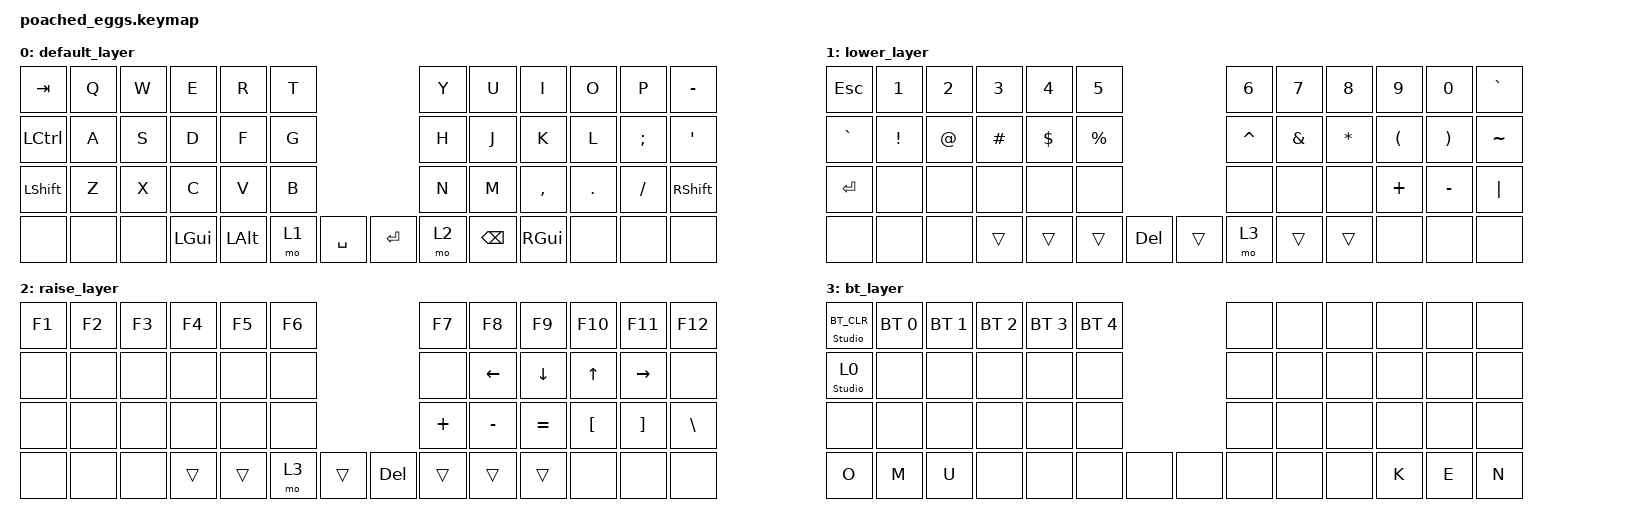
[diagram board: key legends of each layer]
#include <behaviors.dtsi>
#include <dt-bindings/zmk/keys.h>
#include <dt-bindings/zmk/bt.h>

/ {
    behaviors {
        // カスタムhold-tap: Studio unlock + 通常キー
        studio_ht: studio_hold_tap {
            compatible = "zmk,behavior-hold-tap";
            #binding-cells = <2>;
            flavor = "tap-preferred";
            tapping-term-ms = <200>;
            quick-tap-ms = <175>;
            require-prior-idle-ms = <150>;
            bindings = <&studio_unlock>, <&kp>;
        };
        
        // Layer-tap + studio unlock の組み合わせ例
        studio_lt: studio_layer_tap {
            compatible = "zmk,behavior-hold-tap";
            #binding-cells = <2>;
            flavor = "balanced";
            tapping-term-ms = <300>;
            quick-tap-ms = <200>;
            bindings = <&studio_unlock>, <&mo>;
        };
    };

    keymap {
        compatible = "zmk,keymap";

        default_layer {
            bindings = <
                &kp TAB     &kp Q       &kp W       &kp E       &kp R       &kp T                                &kp Y       &kp U        &kp I       &kp O       &kp P        &kp MINUS
                &kp LCTRL   &kp A       &kp S       &kp D       &kp F       &kp G                                &kp H       &kp J        &kp K       &kp L       &kp SEMI     &kp SQT
                &kp LSHFT   &kp Z       &kp X       &kp C       &kp V       &kp B                                &kp N       &kp M        &kp COMMA   &kp DOT     &kp FSLH     &kp RSHFT
                &none       &none       &none       &kp LGUI    &kp LALT    &mo 1       &kp SPACE    &kp RET     &mo 2       &kp BSPC     &kp RGUI    &none       &none        &none
            >;
        };

        lower_layer {
            bindings = <
                &kp ESC     &kp N1      &kp N2      &kp N3      &kp N4      &kp N5                              &kp N6      &kp N7      &kp N8      &kp N9      &kp N0      &kp GRAVE
                &kp GRAVE   &kp EXCL    &kp AT      &kp HASH    &kp DOLLAR  &kp PRCNT                           &kp CARET   &kp AMPS    &kp ASTRK   &kp LPAR    &kp RPAR    &kp TILDE
                &kp RET     &none       &none       &none       &none       &none                               &none       &none       &none       &kp PLUS    &kp MINUS   &kp PIPE
                &none       &none       &none       &trans      &trans      &trans      &kp DEL     &trans      &mo 3       &trans      &trans      &none       &none       &none
            >;
        };

        raise_layer {
            bindings = <
                &kp F1      &kp F2      &kp F3      &kp F4      &kp F5      &kp F6                              &kp F7      &kp F8      &kp F9      &kp F10     &kp F11     &kp F12
                &none       &none       &none       &none       &none       &none                               &none       &kp LEFT    &kp DOWN    &kp UP      &kp RIGHT   &none
                &none       &none       &none       &none       &none       &none                               &kp PLUS    &kp MINUS   &kp EQUAL   &kp LBKT    &kp RBKT    &kp BSLH
                &none       &none       &none       &trans      &trans      &mo 3       &trans      &kp DEL     &trans      &trans      &trans      &none       &none       &none
            >;
        };

        bt_layer {
            bindings = <
                // Hold: Studio Unlock, Tap: BT Clear
                &studio_ht 0 BT_CLR  &bt BT_SEL 0 &bt BT_SEL 1 &bt BT_SEL 2 &bt BT_SEL 3 &bt BT_SEL 4           &none       &none       &none       &none       &none       &none
                // Hold: Studio Unlock, Tap: Layer 0 momentary  
                &studio_lt 0 0       &none        &none        &none        &none        &none                  &none       &none       &none       &none       &none       &none
                &none                &none        &none        &none        &none        &none                  &none       &none       &none       &none       &none       &none
                &kp O                &kp M        &kp U        &none        &none        &none      &none &none &none       &none       &none       &kp K       &kp E       &kp N
            >;
        };
    };
};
